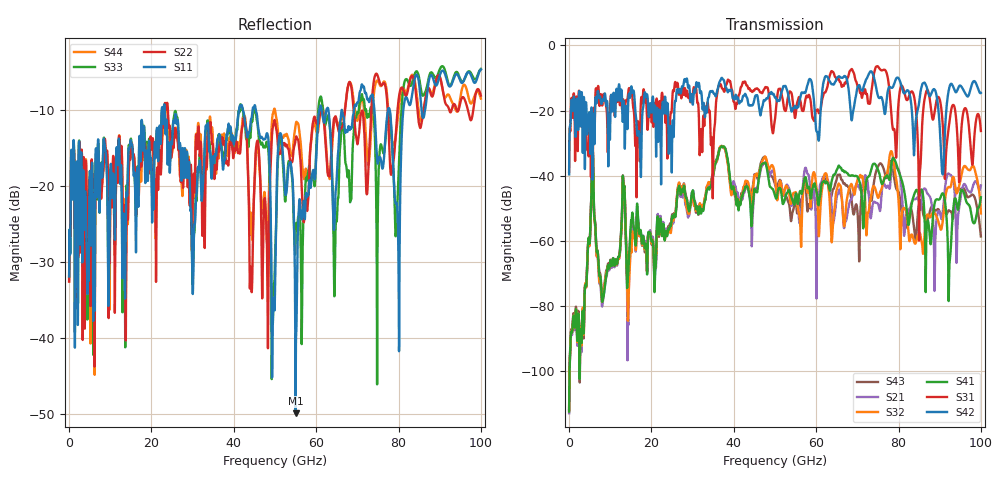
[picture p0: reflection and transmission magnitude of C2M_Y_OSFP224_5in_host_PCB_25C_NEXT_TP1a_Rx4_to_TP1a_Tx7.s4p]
# GHz S RI R 45
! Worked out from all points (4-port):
!   4000 points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, 25 MHz to 100 GHz, reference 45 ohm
!   strongest paths, dB at 25 MHz, 25.02 GHz, 50.02 GHz, 75.03 GHz, 100 GHz:
!     S42: -39.6, -29.2, -16.0, -15.6, -14.6
!     S31: -38.9, -17.7, -22.6, -6.5, -26.3
!     S41: -112.4, -52.5, -46.2, -38.2, -46.6
!     S32: -112.2, -53.1, -40.6, -46.8, -51.6
!     S21: -113.0, -53.2, -41.4, -48.6, -43.0
!     S43: -111.7, -52.0, -42.7, -37.1, -58.7
!   lowest |S11| = -49.9 dB at 55 GHz (marker M1), VSWR 1.01, Z = 44.8 + j0.185 ohm
!   |S11| at or under -10 dB: start of sweep to 22.52 GHz; 23.24 GHz to 41.27 GHz (18.03 GHz wide, 55.9 % of centre); 45.35 GHz to 60.75 GHz (15.4 GHz wide, 29 % of centre) (the widest 3 of 11)
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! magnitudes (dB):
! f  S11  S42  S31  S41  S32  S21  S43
! 25 MHz  -31.9  -39.6  -38.9  -112.4  -112.2  -113.0  -111.7
! 5.75 GHz  -22.1  -31.8  -33.4  -33.1  -33.4  -33.3  -33.2
! 8.175 GHz  -17.3  -16.6  -17.0  -78.4  -77.9  -79.0  -76.1
! 13.22 GHz  -23.9  -17.3  -16.8  -43.0  -43.1  -43.2  -42.8
! 37 GHz  -15.0  -10.0  -12.6  -31.0  -31.1  -31.1  -30.8
! 55 GHz  -49.9  -18.7  -21.7  -46.0  -45.0  -45.7  -47.6
! 100 GHz  -4.7  -14.6  -26.3  -46.6  -51.6  -43.0  -58.7
